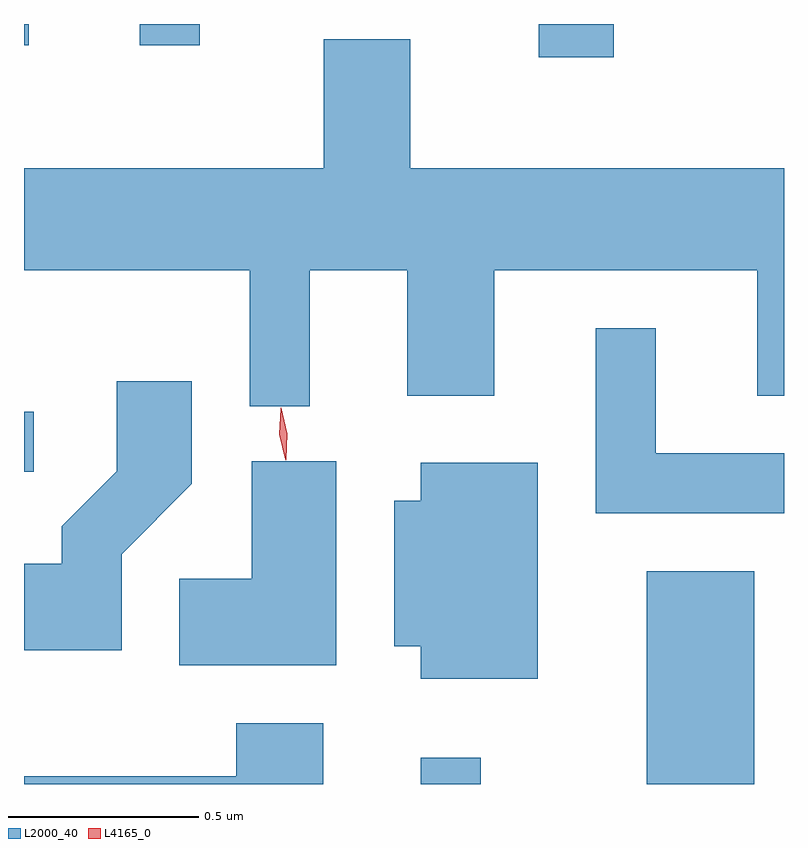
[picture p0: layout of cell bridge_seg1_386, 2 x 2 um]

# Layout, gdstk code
import gdstk
lib = gdstk.Library(unit=1e-6, precision=1e-09)
def R(c, l, rs):  # rectangles x0, y0, x1, y1
    for r in rs: c.add(gdstk.rectangle(r[:2], r[2:], *l))
def P(c, l, *ps):  # polygons
    for p in ps: c.add(gdstk.Polygon(p, *l))
L2000_40 = (2000, 40)
L4165_0 = (4165, 0)

bridge_seg1_386 = lib.new_cell('bridge_seg1_386')
R(bridge_seg1_386, L2000_40, [(887.646,867.144,887.804,867.213), (888.241,867.144,888.524,867.704), (886.602,867.966,886.628,868.124), (887.956,869.056,888.154,869.144), (886.602,869.088,886.614,869.144), (886.906,869.088,887.064,869.144)])
P(bridge_seg1_386, L2000_40, [(887.354,868.496),(887.611,868.496),(887.611,868.166),(887.839,868.166),(887.839,868.496),(888.531,868.496),(888.531,868.166),(888.602,868.166),(888.602,868.764),(887.619,868.764),(887.619,869.104),(887.391,869.104),(887.391,868.764),(886.602,868.764),(886.602,868.496),(887.196,868.496),(887.196,868.138),(887.354,868.138)],
  [(888.602,868.014),(888.264,868.014),(888.264,868.343),(888.106,868.343),(888.106,867.856),(888.602,867.856)],
  [(886.859,867.749),(887.044,867.934),(887.044,868.204),(886.846,868.204),(886.846,867.967),(886.701,867.822),(886.701,867.724),(886.602,867.724),(886.602,867.496),(886.859,867.496)],
  [(887.424,867.994),(887.201,867.994),(887.201,867.684),(887.011,867.684),(887.011,867.456),(887.424,867.456)],
  [(887.954,867.989),(887.646,867.989),(887.646,867.889),(887.576,867.889),(887.576,867.506),(887.646,867.506),(887.646,867.421),(887.954,867.421)],
  [(887.389,867.304),(887.161,867.304),(887.161,867.164),(886.602,867.164),(886.602,867.144),(887.389,867.144)])
P(bridge_seg1_386, L4165_0, [(887.291,867.996),(887.291,867.997),(887.275,868.064),(887.278,868.134),(887.278,868.134),(887.279,868.134),(887.295,868.066),(887.292,867.997)],
  [(887.29,867.999),(887.274,868.064),(887.278,868.131),(887.278,868.131),(887.279,868.131),(887.294,868.066),(887.291,867.999),(887.291,867.999)])

lib.write_gds('bridge_seg1_386.gds')
